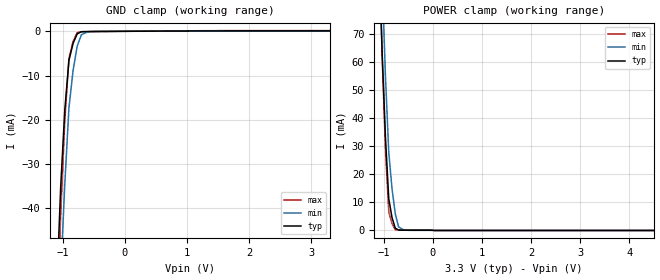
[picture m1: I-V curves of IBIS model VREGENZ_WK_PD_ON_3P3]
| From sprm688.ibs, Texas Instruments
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|VREGENZ_WK_PD_OFF_3P3; WEAK_PULLDOWN_OFF
|   Model Cell VREGENZ_WK_PD_ON_3P3
|VREGENZ_WK_PD_ON_3P3
[Model]   VREGENZ_WK_PD_ON_3P3
Model_type   Input
Polarity   Non-Inverting
Vinl =  0.8
Vinh =  2
C_comp   1.1812p   1.10922p   1.21731p
[Model Spec]
Vinl   0.8   0.8   0.8
Vinh   2   2   2
[Temperature Range]   25   155   -40
[Voltage Range]   3.3   2.97   3.63
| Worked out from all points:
|   GND clamp passes 1 mA (typ) near -0.78 V on its own axis
|   POWER clamp passes 1 mA (typ) near -0.77 V on its own axis
| Nom Voltages:
|   BIASFET=3.3, VDD=1.2, VDDS=3.3, VSS=0
| Min Voltages:
|   BIASFET=2.97, VDD=1.08, VDDS=2.97, VSS=0
| Max Voltages:
|   BIASFET=3.63, VDD=1.32, VDDS=3.63, VSS=0
[POWER_clamp]
|   voltage   I(typ)   I(min)   I(max)
-3.3V     1.823A     2.351A     1.96A
-1.1V     100.7mA    129.7mA    104mA
-1.033V   62.86mA    88.78mA    61.4mA
-966.7mV  33.07mA    54.88mA    28.94mA
-900mV    11.35mA    27.98mA    6.644mA
-833.3mV  4.58mA     14.87mA    2.443mA
-766.7mV  839.1uA    5.967mA    285.6uA
-700mV    131.4uA    1.272mA    170.7uA
-566.7mV  97.23uA    120.8uA    168.7uA
-500mV    96.59uA    53.18uA    168.7uA
6.6V      0A         0A         0A
[GND_clamp]
|   voltage   I(typ)   I(min)   I(max)
-3.3V     -1.38A     -1.323A    -2.074A
-1.1V     -59.6mA    -79.12mA   -70.72mA
-1.033V   -35.49mA   -55.25mA   -41.83mA
-966.7mV  -17.83mA   -34.66mA   -20.31mA
-900mV    -6.6mA     -17.33mA   -6.147mA
-833.3mV  -2.744mA   -8.865mA   -2.295mA
-766.7mV  -575.7uA   -3.351mA   -279.2uA
-700mV    -96.31uA   -787uA     -98.86uA
-566.7mV  -52.15uA   -88.17uA   -76.87uA
3.3V      96.5uA     44.35uA    168.5uA
